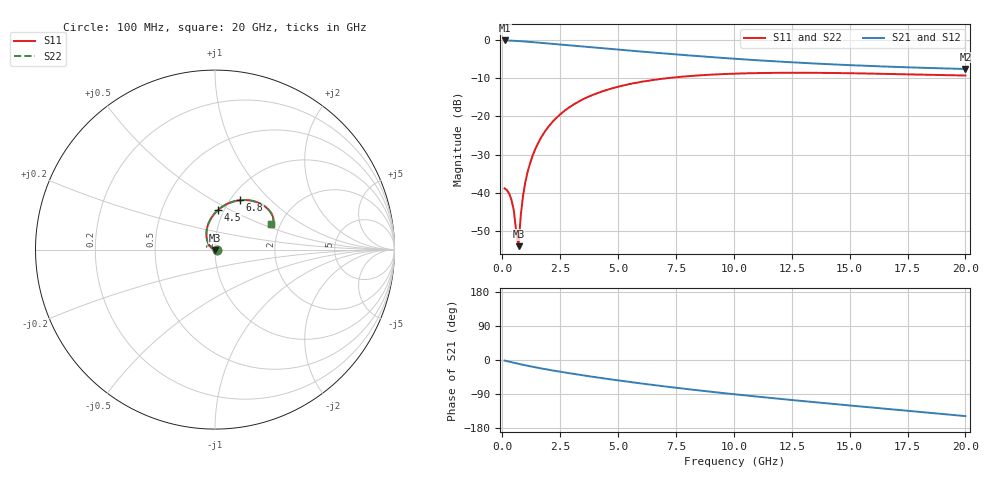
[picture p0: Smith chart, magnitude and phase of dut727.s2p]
! Touchstone file exported from HFSS 2024.1.0
!  File:  C:/UserFiles/LocalFiles/RDL_TSV_Batchsim/temp_RDL_TSV_727_1779891970.aedt
!  Generated:  10:40:52 PM May 27, 2026
!  Design:  RDL_TSV
!  Project:  temp_RDL_TSV_727_1779891970
!  Setup:  Setup1
!  Solution:  Sweep
! Variables:
!  dtsv = 13.55um
!  hbump = 3um
!  htsv = 57.69um
!  ldown = 262.31um
!  lrdl = 315.69um
!  p = 40
!  p1 = 59.17um
!  rhole = 10um
!  subl = 2049.69um
!  t = 450um
!  tdown = 3.85um
!  trdl = 2.93um
!  viad = 10um
!  wdown = 26.44um
!  wrdl = 18.33um
!  xbump = 18um
# GHz S MA R 50.000000
! Terminal data exported
! Port[1] = TM1_1_T1
! Port[2] = TM1_4_T1
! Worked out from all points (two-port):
!   200 points, 100 MHz to 20 GHz, reference 50 ohm
!   highest |S21| = -0.11 dB at 100 MHz (marker M1); lowest = -7.6 dB at 20 GHz (marker M2)
!   |S21| within 3 dB of the highest: start of sweep to 6.181 GHz
!   lowest |S11| = -54.0 dB at 700 MHz (marker M3), VSWR 1.00, Z = 49.9 - j0.148 ohm
!   |S11| at or under -10 dB: start of sweep to 7.099 GHz
!   |S22| runs from -54.0 to -8.6 dB; largest |S21 - S12| = 8.8e-15
!   S11 on the Smith chart (normalised r, x): 100 MHz: 1.02, -0.00; 4.5 GHz: 0.94, +0.44; 6.8 GHz: 1.11, +0.67; 20 GHz: 1.79, +0.58
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0.1  0.01143 -2.7  0.9879 -1.5  0.9879 -1.5  0.01143 -2.7
! Gamma 0 0 0 0
! Port Impedance 50 0 50 0
0.3  0.009762 -10.8  0.9843 -4.4  0.9843 -4.4  0.009764 -10.8
0.4  0.008054 -16.9  0.9816 -5.9  0.9816 -5.9  0.008059 -16.9
0.5  0.005779 -26.0  0.9784 -7.3  0.9784 -7.3  0.005786 -26.0
0.6  0.003126 -46.8  0.9747 -8.7  0.9747 -8.7  0.003136 -46.7
0.7  0.002004 -132.1  0.9706 -10.0  0.9706 -10.0  0.002003 -131.7
0.8  0.005151 -178.8  0.9662 -11.4  0.9662 -11.4  0.005138 -178.6
0.9  0.009363 168.4  0.9614 -12.7  0.9614 -12.7  0.009345 168.5
1  0.01405 161.4  0.9563 -14.0  0.9563 -14.0  0.01402 161.4
1.1  0.01909 156.2  0.951 -15.3  0.951 -15.3  0.01907 156.2
1.2  0.02445 151.9  0.9455 -16.5  0.9455 -16.5  0.02442 151.9
1.4  0.0359 144.7  0.9341 -19.0  0.9341 -19.0  0.03586 144.7
1.8  0.06079 132.9  0.9107 -23.6  0.9107 -23.6  0.06073 132.9
2.2  0.08689 123.1  0.8875 -27.9  0.8875 -27.9  0.08681 123.1
2.8  0.1258 110.8  0.8546 -33.9  0.8546 -33.9  0.1257 110.8
3.5  0.1685 99.0  0.8188 -40.6  0.8188 -40.6  0.1684 99.0
4.5  0.2218 85.5  0.7715 -49.5  0.7715 -49.5  0.2217 85.5
6.8  0.3083 63.2  0.675 -68.1  0.675 -68.1  0.3081 63.2
10.1  0.3638 43.2  0.5673 -90.9  0.5673 -90.9  0.3635 43.2
13.4  0.3726 31.6  0.4947 -110.8  0.4947 -110.8  0.3724 31.6
16.7  0.36 25.6  0.4481 -129.5  0.4481 -129.5  0.3598 25.6
20  0.3434 24.4  0.418 -148.0  0.418 -148.0  0.3432 24.4
